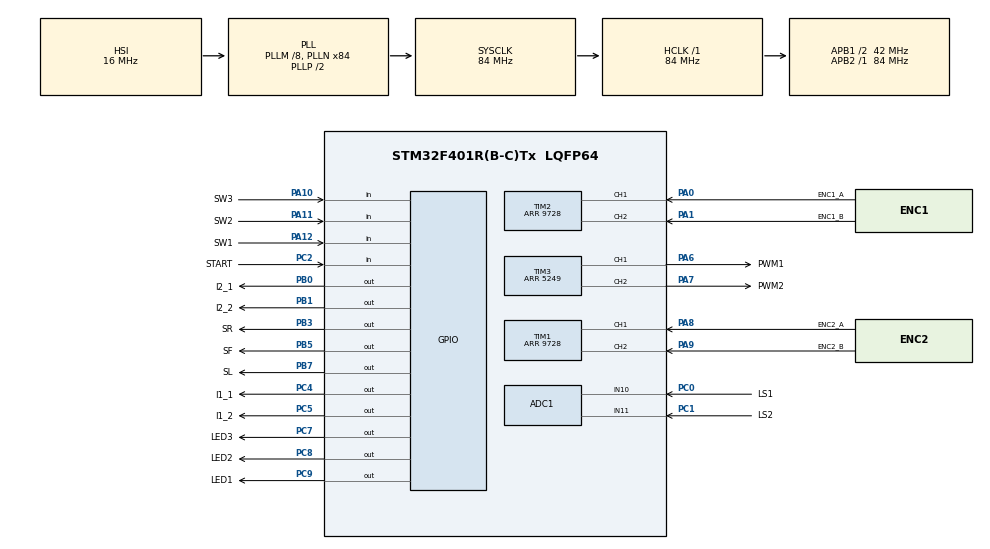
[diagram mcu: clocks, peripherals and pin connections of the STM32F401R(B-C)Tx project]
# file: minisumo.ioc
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ADC1.Channel-0\#ChannelRegularConversion=ADC_CHANNEL_10
ADC1.Channel-1\#ChannelRegularConversion=ADC_CHANNEL_11
ADC1.ClockPrescaler=ADC_CLOCK_SYNC_PCLK_DIV8
ADC1.ContinuousConvMode=ENABLE
ADC1.DMAContinuousRequests=ENABLE
ADC1.NbrOfConversion=2
ADC1.NbrOfConversionFlag=1
ADC1.Rank-0\#ChannelRegularConversion=1
ADC1.Rank-1\#ChannelRegularConversion=2
ADC1.SamplingTime-0\#ChannelRegularConversion=ADC_SAMPLETIME_480CYCLES
ADC1.SamplingTime-1\#ChannelRegularConversion=ADC_SAMPLETIME_480CYCLES
ADC1.ScanConvMode=ENABLE
ADC1.master=1
Dma.ADC1.0.Direction=DMA_PERIPH_TO_MEMORY
Dma.ADC1.0.FIFOMode=DMA_FIFOMODE_DISABLE
Dma.ADC1.0.Instance=DMA2_Stream0
Dma.ADC1.0.MemDataAlignment=DMA_MDATAALIGN_WORD
Dma.ADC1.0.MemInc=DMA_MINC_ENABLE
Dma.ADC1.0.Mode=DMA_CIRCULAR
Dma.ADC1.0.PeriphDataAlignment=DMA_PDATAALIGN_WORD
Dma.ADC1.0.PeriphInc=DMA_PINC_DISABLE
Dma.ADC1.0.Priority=DMA_PRIORITY_LOW
Dma.Request0=ADC1
Mcu.Family=STM32F4
Mcu.Name=STM32F401R(B-C)Tx
Mcu.Package=LQFP64
NVIC.DMA2_Stream0_IRQn=true\:0\:0\:false\:false\:true\:false\:true
NVIC.PriorityGroup=NVIC_PRIORITYGROUP_4
PA0-WKUP.GPIO_Label=ENC1_A
PA0-WKUP.Signal=S_TIM2_CH1_ETR
PA1.GPIO_Label=ENC1_B
PA1.Signal=S_TIM2_CH2
PA10.GPIO_Label=SW3
PA10.GPIO_PuPd=GPIO_PULLUP
PA10.Signal=GPIO_Input
PA11.GPIO_Label=SW2
PA11.GPIO_PuPd=GPIO_PULLUP
PA11.Signal=GPIO_Input
PA12.GPIO_Label=SW1
PA12.GPIO_PuPd=GPIO_PULLUP
PA12.Signal=GPIO_Input
PA6.GPIO_Label=PWM1
PA6.Signal=S_TIM3_CH1
PA7.GPIO_Label=PWM2
PA7.Signal=S_TIM3_CH2
PA8.GPIO_Label=ENC2_A
PA8.Signal=S_TIM1_CH1
PA9.GPIO_Label=ENC2_B
PA9.Signal=S_TIM1_CH2
PB0.GPIO_Label=I2_1
PB0.Signal=GPIO_Output
PB1.GPIO_Label=I2_2
PB1.Signal=GPIO_Output
PB3.GPIO_Label=SR
PB3.Signal=GPIO_Output
PB5.GPIO_Label=SF
PB5.Signal=GPIO_Output
PB7.GPIO_Label=SL
PB7.Signal=GPIO_Output
PC0.GPIO_Label=LS1
PC0.Signal=ADCx_IN10
PC1.GPIO_Label=LS2
PC1.Signal=ADCx_IN11
PC2.GPIO_Label=START
PC2.Signal=GPIO_Input
PC4.GPIO_Label=I1_1
PC4.Signal=GPIO_Output
PC5.GPIO_Label=I1_2
PC5.Signal=GPIO_Output
PC7.GPIO_Label=LED3
PC7.Signal=GPIO_Output
PC8.GPIO_Label=LED2
PC8.Signal=GPIO_Output
PC9.GPIO_Label=LED1
PC9.Signal=GPIO_Output
ProjectManager.HeapSize=0x200
ProjectManager.StackSize=0x400
ProjectManager.TargetToolchain=STM32CubeIDE
RCC.48MHZClocksFreq_Value=42000000
RCC.AHBFreq_Value=84000000
RCC.APB1CLKDivider=RCC_HCLK_DIV2
RCC.APB1Freq_Value=42000000
RCC.APB1TimFreq_Value=84000000
RCC.APB2Freq_Value=84000000
RCC.APB2TimFreq_Value=84000000
RCC.CortexFreq_Value=84000000
RCC.HCLKFreq_Value=84000000
RCC.HSE_VALUE=25000000
RCC.HSI_VALUE=16000000
RCC.LSE_VALUE=32768
RCC.PLLM=8
RCC.PLLN=84
RCC.SYSCLKFreq_VALUE=84000000
RCC.SYSCLKSource=RCC_SYSCLKSOURCE_PLLCLK
RCC.VCOOutputFreq_Value=168000000
SH.ADCx_IN10.0=ADC1_IN10,IN10
SH.ADCx_IN11.0=ADC1_IN11,IN11
SH.S_TIM1_CH1.0=TIM1_CH1,Encoder_Interface
SH.S_TIM1_CH2.0=TIM1_CH2,Encoder_Interface
SH.S_TIM2_CH1_ETR.0=TIM2_CH1,Encoder_Interface
SH.S_TIM2_CH2.0=TIM2_CH2,Encoder_Interface
SH.S_TIM3_CH1.0=TIM3_CH1,PWM Generation1 CH1
SH.S_TIM3_CH2.0=TIM3_CH2,PWM Generation2 CH2
TIM1.EncoderMode=TIM_ENCODERMODE_TI12
TIM1.IC1Filter=15
TIM1.IC2Filter=15
TIM1.Period=9728
TIM2.EncoderMode=TIM_ENCODERMODE_TI12
TIM2.IC1Filter=15
TIM2.IC2Filter=15
TIM2.Period=9728
TIM3.Channel-PWM\ Generation1\ CH1=TIM_CHANNEL_1
TIM3.Channel-PWM\ Generation2\ CH2=TIM_CHANNEL_2
TIM3.Period=5249
board=custom

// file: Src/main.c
/* USER CODE BEGIN Header */
/**
  ******************************************************************************
  * @file           : main.c
  * @brief          : Main program body
  ******************************************************************************
  * @attention
  *
  * <h2><center>&copy; Copyright (c) 2021 STMicroelectronics.
  * All rights reserved.</center></h2>
  *
  * This software component is licensed by ST under BSD 3-Clause license,
  * the "License"; You may not use this file except in compliance with the
  * License. You may obtain a copy of the License at:
  *                        opensource.org/licenses/BSD-3-Clause
  *
  ******************************************************************************
  */
/* USER CODE END Header */
#include "main.h"
#include "adc.h"
#include "dma.h"
#include "tim.h"
#include "gpio.h"

/* USER CODE BEGIN Includes */
#include <stdio.h>
#include "vl53l0x_api.h"
/* USER CODE END Includes */

/* USER CODE BEGIN PD */
#define SW1 HAL_GPIO_ReadPin(SW1_GPIO_Port, SW1_Pin)
#define SW2 HAL_GPIO_ReadPin(SW2_GPIO_Port, SW2_Pin)
#define SW3 HAL_GPIO_ReadPin(SW3_GPIO_Port, SW3_Pin)
#define SF HAL_GPIO_ReadPin(SF_GPIO_Port, SF_Pin)
#define SR HAL_GPIO_ReadPin(SR_GPIO_Port, SR_Pin)
#define SL HAL_GPIO_ReadPin(SL_GPIO_Port, SL_Pin)
#define START HAL_GPIO_ReadPin(START_GPIO_Port, START_Pin)
/* USER CODE END PD */

/* USER CODE BEGIN PV */
uint32_t linia[2];
u_int16_t ls[4];

int takt = 1;
extern volatile int start;

volatile int ust_D_P;
volatile int ust_D_L;
volatile int zad_V_L;
volatile int zad_V_P;

/* USER CODE END PV */

void SystemClock_Config(void);
/* USER CODE BEGIN PFP */
void lsens(uint32_t linia[]);
void led(int num);
int wybor(int taktyka);
void LS_tyl(void);
void LS_przod(void);
void LS_stop(void);
void PS_tyl(void);
void PS_przod(void);
void PS_stop(void);
void przod(void);
void tyl(void);
void stoj(void);
void lewy_szybko(void);
void prawy_szybko(void);
void lewy(void);
void prawy(void);
void bialaL();
void zerujE();
void soft_start();
/* USER CODE END PFP */

int main(void)
{

  /* MCU Configuration--------------------------------------------------------*/

  /* Reset of all peripherals, Initializes the Flash interface and the Systick. */
  HAL_Init();

  /* Configure the system clock */
  SystemClock_Config();

  /* Initialize all configured peripherals */
  MX_GPIO_Init();
  MX_DMA_Init();
  MX_ADC1_Init();
  MX_TIM1_Init();
  MX_TIM2_Init();
  MX_TIM3_Init();
  /* USER CODE BEGIN 2 */
  //////////////////Inicjalizacja czujnikow i ustawianie adresow//////////////////
  led(1);
  stoj(); //silniki stan niski

  HAL_TIM_Encoder_Start_IT(&htim1, TIM_CHANNEL_ALL);
  HAL_TIM_Encoder_Start_IT(&htim2, TIM_CHANNEL_ALL); //start enkodery

  HAL_TIM_PWM_Start(&htim3, TIM_CHANNEL_1);
  HAL_TIM_PWM_Start(&htim3, TIM_CHANNEL_2); //start pwm silnikow

  led(0); //koniec inicjalizacji
  /////////////////////////////////////////////////////////////////////////////////
  /* USER CODE END 2 */

  /* Infinite loop */
  /* USER CODE BEGIN WHILE */
  while (1)
  {
	  if(START == 1)
	  {
		  led(1);
		  zerujE();
		  if(SL == 1) // lewy widzi
		  {
			while(ust_D_L<12000 && ust_D_P<12000)
			{
				lewy();
				zad_V_L = 450;
				zad_V_P = 400;
			}
			zerujE();
			bialaL();
			stoj();
		  }
		  else if(SR == 1) //prawy widzi
		  {
			while(ust_D_L<12000 && ust_D_P<12000)
			{
				prawy();
				zad_V_L = 400;
				zad_V_P = 450;
			}
			zerujE();
			bialaL();
			stoj();
		  }
		  else if(SF == 1) //przod widzi
		  {
			  soft_start();
			  bialaL();
		  }
		  else
		  {
			  prawy();
			  zad_V_L = 400;
			  zad_V_P = 450;
			  bialaL();
		  }
		  zerujE();
	  }
	  else if(START == 0)
	  {
		led(0);
		stoj();
		zad_V_L = 0;
		zad_V_P = 0;
		bialaL();
	  }
    /* USER CODE END WHILE */

  }
}

void SystemClock_Config(void)
{
  RCC_OscInitTypeDef RCC_OscInitStruct = {0};
  RCC_ClkInitTypeDef RCC_ClkInitStruct = {0};

  /** Configure the main internal regulator output voltage
  */
  __HAL_RCC_PWR_CLK_ENABLE();
  __HAL_PWR_VOLTAGESCALING_CONFIG(PWR_REGULATOR_VOLTAGE_SCALE2);
  /** Initializes the RCC Oscillators according to the specified parameters
  * in the RCC_OscInitTypeDef structure.
  */
  RCC_OscInitStruct.OscillatorType = RCC_OSCILLATORTYPE_HSI;
  RCC_OscInitStruct.HSIState = RCC_HSI_ON;
  RCC_OscInitStruct.HSICalibrationValue = RCC_HSICALIBRATION_DEFAULT;
  RCC_OscInitStruct.PLL.PLLState = RCC_PLL_ON;
  RCC_OscInitStruct.PLL.PLLSource = RCC_PLLSOURCE_HSI;
  RCC_OscInitStruct.PLL.PLLM = 8;
  RCC_OscInitStruct.PLL.PLLN = 84;
  RCC_OscInitStruct.PLL.PLLP = RCC_PLLP_DIV2;
  RCC_OscInitStruct.PLL.PLLQ = 4;
  if (HAL_RCC_OscConfig(&RCC_OscInitStruct) != HAL_OK)
  {
    Error_Handler();
  }
  /** Initializes the CPU, AHB and APB buses clocks
  */
  RCC_ClkInitStruct.ClockType = RCC_CLOCKTYPE_HCLK|RCC_CLOCKTYPE_SYSCLK
                              |RCC_CLOCKTYPE_PCLK1|RCC_CLOCKTYPE_PCLK2;
  RCC_ClkInitStruct.SYSCLKSource = RCC_SYSCLKSOURCE_PLLCLK;
  RCC_ClkInitStruct.AHBCLKDivider = RCC_SYSCLK_DIV1;
  RCC_ClkInitStruct.APB1CLKDivider = RCC_HCLK_DIV2;
  RCC_ClkInitStruct.APB2CLKDivider = RCC_HCLK_DIV1;

  if (HAL_RCC_ClockConfig(&RCC_ClkInitStruct, FLASH_LATENCY_2) != HAL_OK)
  {
    Error_Handler();
  }
}

/* USER CODE BEGIN 4 */
void LS_tyl(void)
{
	HAL_GPIO_WritePin(I1_1_GPIO_Port, I1_1_Pin, RESET);
	HAL_GPIO_WritePin(I1_2_GPIO_Port, I1_2_Pin, SET);
}

void LS_przod(void)
{
	HAL_GPIO_WritePin(I1_1_GPIO_Port, I1_1_Pin, SET);
	HAL_GPIO_WritePin(I1_2_GPIO_Port, I1_2_Pin, RESET);
}

void LS_stop(void)
{
	HAL_GPIO_WritePin(I1_1_GPIO_Port, I1_1_Pin, RESET);
	HAL_GPIO_WritePin(I1_2_GPIO_Port, I1_2_Pin, RESET);
}

void PS_tyl(void)
{
	HAL_GPIO_WritePin(I2_1_GPIO_Port, I2_1_Pin, SET);
	HAL_GPIO_WritePin(I2_2_GPIO_Port, I2_2_Pin, RESET);
}

void PS_przod(void)
{
	HAL_GPIO_WritePin(I2_1_GPIO_Port, I2_1_Pin, RESET);
	HAL_GPIO_WritePin(I2_2_GPIO_Port, I2_2_Pin, SET);
}

void PS_stop(void)
{
	HAL_GPIO_WritePin(I2_1_GPIO_Port, I2_1_Pin, RESET);
	HAL_GPIO_WritePin(I2_2_GPIO_Port, I2_2_Pin, RESET);
}

void przod(void)
{
	PS_przod();
	LS_przod();
}

void tyl(void)
{
	PS_tyl();
	LS_tyl();
}

void stoj(void)
{
	PS_stop();
	LS_stop();
}
void lewy_szybko(void)
{
	PS_stop();
	LS_tyl();
}

void prawy_szybko(void)
{
	PS_tyl();
	LS_stop();
}

void lewy(void)
{
	PS_przod();
	LS_tyl();
}

void prawy(void)
{
	PS_tyl();
	LS_przod();
}

void lsens(uint32_t linia[])
{
	int i;
	for(i=0;i<2;i++)
	{
		if(linia[i]<=300) ls[i]=1;
		else ls[i]=0;
	}
}

void led(int num)
{
	switch(num)
	{
	case 0:
		HAL_GPIO_WritePin(LED1_GPIO_Port, LED1_Pin, RESET);
		HAL_GPIO_WritePin(LED2_GPIO_Port, LED2_Pin, RESET);
		HAL_GPIO_WritePin(LED3_GPIO_Port, LED3_Pin, RESET);
		break;
	case 1:
		HAL_GPIO_WritePin(LED1_GPIO_Port, LED1_Pin, SET);
		HAL_GPIO_WritePin(LED2_GPIO_Port, LED2_Pin, RESET);
		HAL_GPIO_WritePin(LED3_GPIO_Port, LED3_Pin, RESET);
		break;
	case 2:
		HAL_GPIO_WritePin(LED1_GPIO_Port, LED1_Pin, SET);
		HAL_GPIO_WritePin(LED2_GPIO_Port, LED2_Pin, SET);
		HAL_GPIO_WritePin(LED3_GPIO_Port, LED3_Pin, RESET);
		break;
	case 3:
		HAL_GPIO_WritePin(LED1_GPIO_Port, LED1_Pin, SET);
		HAL_GPIO_WritePin(LED2_GPIO_Port, LED2_Pin, SET);
		HAL_GPIO_WritePin(LED3_GPIO_Port, LED3_Pin, SET);
		break;
	}
}

int wybor(int taktyka)
{
	if(SW3==RESET)
	{
		taktyka++;
		if(taktyka > 3) taktyka = 1;
		HAL_Delay(200);
	}
	else if(SW1==RESET)
	{
		taktyka--;
		if(taktyka < 1) taktyka = 3;
		HAL_Delay(200);
	}
	led(taktyka);
	return taktyka;
}

void zerujE()
{
	ust_D_P = 0;
	ust_D_L = 0;
}

void soft_start()
{
		zerujE();
		while(ust_D_L < 4000 && ust_D_P < 4000)
		{
			przod();
			zad_V_L = 50;
			zad_V_P = 50;
		}
		zerujE();

		while(ust_D_L < 2000 && ust_D_P < 2000)
		{
			przod();
			zad_V_L = 100;
			zad_V_P = 100;
		}
		zerujE();

		while(ust_D_L < 2000 && ust_D_P < 2000)
		{
			przod();
			zad_V_L = 300;
			zad_V_P = 300;
		}
		zerujE();

		while(ust_D_L < 2000 && ust_D_P < 2000)
		{
			przod();
			zad_V_L = 700;
			zad_V_P = 700;
		}
		zerujE();

		while(ust_D_L < 2000 && ust_D_P < 2000)
		{
			przod();
			zad_V_L = 1000;
			zad_V_P = 1000;
		}
		zerujE();
}

void bialaL()
{
	zerujE();
	if(linia[0]<1000 && linia[1]>1000) //prawy widzi linie
	{
		stoj();
		while(ust_D_L<10000 && ust_D_P<10000)
		{
			tyl();
			zad_V_L = 200;
			zad_V_P = 200;
		}
		zerujE();
		while(ust_D_L<20000)
		{
			lewy();
			zad_V_L = 200;
			zad_V_P = 150;
		}
		stoj();
	}
	else if(linia[0]>1000 && linia[1]<1000) //lewy widzi linie
	{
		stoj();
		while(ust_D_L<10000 && ust_D_P<10000)
		{
			tyl();
			zad_V_L = 200;
			zad_V_P = 200;
		}
		zerujE();
		while(ust_D_P<20000)
		{
			prawy();
			zad_V_L = 150;
			zad_V_P = 200;
		}
		stoj();
	}
	else if(linia[0]<1000 && linia[1]<1000) //oba widza linie
	{
		stoj();
		while(ust_D_L<30000 && ust_D_P<30000)
		{
			tyl();
			zad_V_L = 200;
			zad_V_P = 200;
		}
		stoj();
		zerujE();
		while(ust_D_L<60000)
		{
			lewy();
			zad_V_L = 200;
			zad_V_P = 150;
		}
		stoj();
	}
	zerujE();
}

void taktyka2()
{
	zerujE();
	while(ust_D_L<5000 && ust_D_P<5000)
	{
		przod();
		zad_V_L=100;
		zad_V_P=100;
	} //powoli do przodu
	zerujE();
	while(ust_D_L<50000 && ust_D_P<50000)
	{
		przod();
		zad_V_L=300;
		zad_V_P=300;
	} //szybciej do przodu
	stoj();
	zad_V_L=0;
	zad_V_P=0;
	zerujE(); //koniec funkcji, dalej program podstawowy
}
void taktyka3()
{
	int flag = 1;
	while(flag==1)
	{
		zerujE();
		przod();
		zad_V_L=150;
		zad_V_P=150; //jedz do przodu az do linii
		if(linia[0]<1000 && linia[1]>1000)
		{
			stoj();
			while(ust_D_L<10000 && ust_D_P<10000)
			{
				tyl();
				zad_V_L = 200;
				zad_V_P = 200; //delikatne cofniecie sie
			}
			zerujE();
			while(ust_D_L<20000)
			{
				lewy();
				zad_V_L = 200;
				zad_V_P = 150; //obrot w lewo
			}
			stoj();
			flag=0; //koniec funkcji, dalej program podstawowy
		}
	}
}
/* USER CODE END 4 */

void Error_Handler(void)
{
}

/************************ (C) COPYRIGHT STMicroelectronics *****END OF FILE****/
